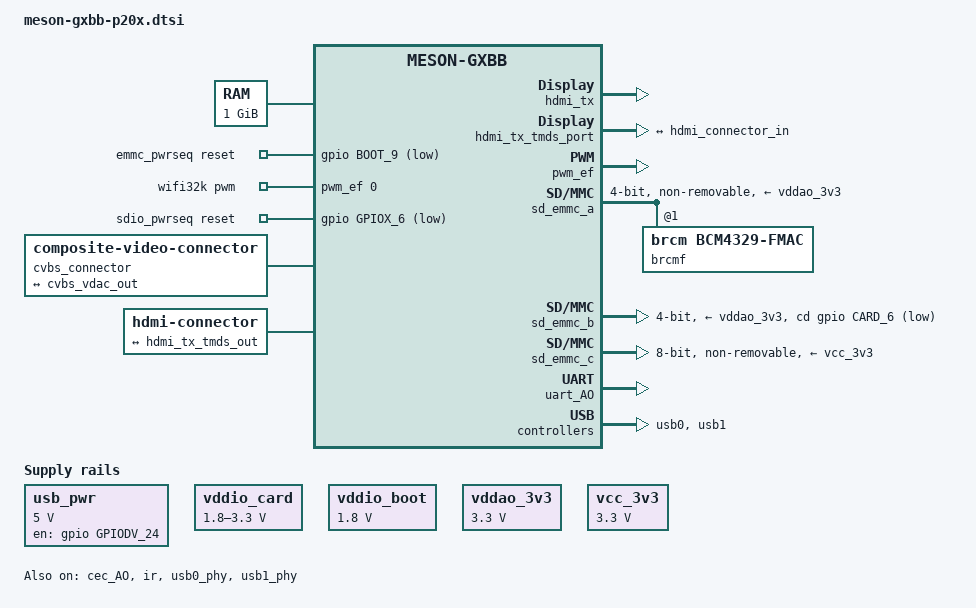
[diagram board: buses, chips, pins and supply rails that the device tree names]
// SPDX-License-Identifier: (GPL-2.0+ OR MIT)
/*
 * Copyright (c) 2016 Andreas Färber
 * Copyright (c) 2016 BayLibre, Inc.
 * Author: Kevin Hilman <khilman@kernel.org>
 */

#include "meson-gxbb.dtsi"

/ {
	aliases {
		serial0 = &uart_AO;
		ethernet0 = &ethmac;
	};

	chosen {
		stdout-path = "serial0:115200n8";
	};

	memory@0 {
		device_type = "memory";
		reg = <0x0 0x0 0x0 0x40000000>;
	};

	usb_pwr: regulator-usb-pwrs {
		compatible = "regulator-fixed";

		regulator-name = "USB_PWR";

		regulator-min-microvolt = <5000000>;
		regulator-max-microvolt = <5000000>;

		/* signal name in schematic: USB_PWR_EN */
		gpio = <&gpio GPIODV_24 GPIO_ACTIVE_HIGH>;
		enable-active-high;
	};

	vddio_card: gpio-regulator {
		compatible = "regulator-gpio";

		regulator-name = "VDDIO_CARD";
		regulator-min-microvolt = <1800000>;
		regulator-max-microvolt = <3300000>;

		gpios = <&gpio_ao GPIOAO_5 GPIO_ACTIVE_HIGH>;
		gpios-states = <1>;

		/* Based on P200 schematics, signal CARD_1.8V/3.3V_CTR */
		states = <1800000 0
			  3300000 1>;

		regulator-settling-time-up-us = <10000>;
		regulator-settling-time-down-us = <150000>;
	};

	vddio_boot: regulator-vddio_boot {
		compatible = "regulator-fixed";
		regulator-name = "VDDIO_BOOT";
		regulator-min-microvolt = <1800000>;
		regulator-max-microvolt = <1800000>;
	};

	vddao_3v3: regulator-vddao_3v3 {
		compatible = "regulator-fixed";
		regulator-name = "VDDAO_3V3";
		regulator-min-microvolt = <3300000>;
		regulator-max-microvolt = <3300000>;
	};

	vcc_3v3: regulator-vcc_3v3 {
		compatible = "regulator-fixed";
		regulator-name = "VCC_3V3";
		regulator-min-microvolt = <3300000>;
		regulator-max-microvolt = <3300000>;
	};

	emmc_pwrseq: emmc-pwrseq {
		compatible = "mmc-pwrseq-emmc";
		reset-gpios = <&gpio BOOT_9 GPIO_ACTIVE_LOW>;
	};

	wifi32k: wifi32k {
		compatible = "pwm-clock";
		#clock-cells = <0>;
		clock-frequency = <32768>;
		pwms = <&pwm_ef 0 30518 0>; /* PWM_E at 32.768KHz */
	};

	sdio_pwrseq: sdio-pwrseq {
		compatible = "mmc-pwrseq-simple";
		reset-gpios = <&gpio GPIOX_6 GPIO_ACTIVE_LOW>;
		clocks = <&wifi32k>;
		clock-names = "ext_clock";
	};

	cvbs_connector: cvbs-connector {
		compatible = "composite-video-connector";

		port {
			cvbs_connector_in: endpoint {
				remote-endpoint = <&cvbs_vdac_out>;
			};
		};
	};

	hdmi-connector {
		compatible = "hdmi-connector";
		type = "a";

		port {
			hdmi_connector_in: endpoint {
				remote-endpoint = <&hdmi_tx_tmds_out>;
			};
		};
	};
};

&cec_AO {
	status = "okay";
	pinctrl-0 = <&ao_cec_pins>;
	pinctrl-names = "default";
	hdmi-phandle = <&hdmi_tx>;
};

&cvbs_vdac_port {
	cvbs_vdac_out: endpoint {
		remote-endpoint = <&cvbs_connector_in>;
	};
};

&hdmi_tx {
	status = "okay";
	pinctrl-0 = <&hdmi_hpd_pins>, <&hdmi_i2c_pins>;
	pinctrl-names = "default";
};

&hdmi_tx_tmds_port {
	hdmi_tx_tmds_out: endpoint {
		remote-endpoint = <&hdmi_connector_in>;
	};
};

&ir {
	status = "okay";
	pinctrl-0 = <&remote_input_ao_pins>;
	pinctrl-names = "default";
};

&pwm_ef {
	status = "okay";
	pinctrl-0 = <&pwm_e_pins>;
	pinctrl-names = "default";
	clocks = <&clkc CLKID_FCLK_DIV4>;
	clock-names = "clkin0";
};

/* Wireless SDIO Module */
&sd_emmc_a {
	status = "okay";
	pinctrl-0 = <&sdio_pins>;
	pinctrl-1 = <&sdio_clk_gate_pins>;
	pinctrl-names = "default", "clk-gate";
	#address-cells = <1>;
	#size-cells = <0>;

	bus-width = <4>;
	cap-sd-highspeed;
	max-frequency = <50000000>;

	non-removable;
	disable-wp;

	mmc-pwrseq = <&sdio_pwrseq>;

	vmmc-supply = <&vddao_3v3>;
	vqmmc-supply = <&vddio_boot>;

	brcmf: wifi@1 {
		reg = <1>;
		compatible = "brcm,bcm4329-fmac";
	};
};

/* SD card */
&sd_emmc_b {
	status = "okay";
	pinctrl-0 = <&sdcard_pins>;
	pinctrl-1 = <&sdcard_clk_gate_pins>;
	pinctrl-names = "default", "clk-gate";

	bus-width = <4>;
	cap-sd-highspeed;
	sd-uhs-sdr12;
	sd-uhs-sdr25;
	sd-uhs-sdr50;
	max-frequency = <100000000>;
	disable-wp;

	cd-gpios = <&gpio CARD_6 GPIO_ACTIVE_LOW>;

	vmmc-supply = <&vddao_3v3>;
	vqmmc-supply = <&vddio_card>;
};

/* eMMC */
&sd_emmc_c {
	status = "okay";
	pinctrl-0 = <&emmc_pins>, <&emmc_ds_pins>;
	pinctrl-1 = <&emmc_clk_gate_pins>;
	pinctrl-names = "default", "clk-gate";

	bus-width = <8>;
	cap-mmc-highspeed;
	max-frequency = <200000000>;
	non-removable;
	disable-wp;
	mmc-ddr-1_8v;
	mmc-hs200-1_8v;

	mmc-pwrseq = <&emmc_pwrseq>;
	vmmc-supply = <&vcc_3v3>;
	vqmmc-supply = <&vddio_boot>;
};

/* This UART is brought out to the DB9 connector */
&uart_AO {
	status = "okay";
	pinctrl-0 = <&uart_ao_a_pins>;
	pinctrl-names = "default";
};

&usb0_phy {
	status = "okay";
	phy-supply = <&usb_pwr>;
};

&usb1_phy {
	status = "okay";
};

&usb0 {
	status = "okay";
};

&usb1 {
	status = "okay";
};
